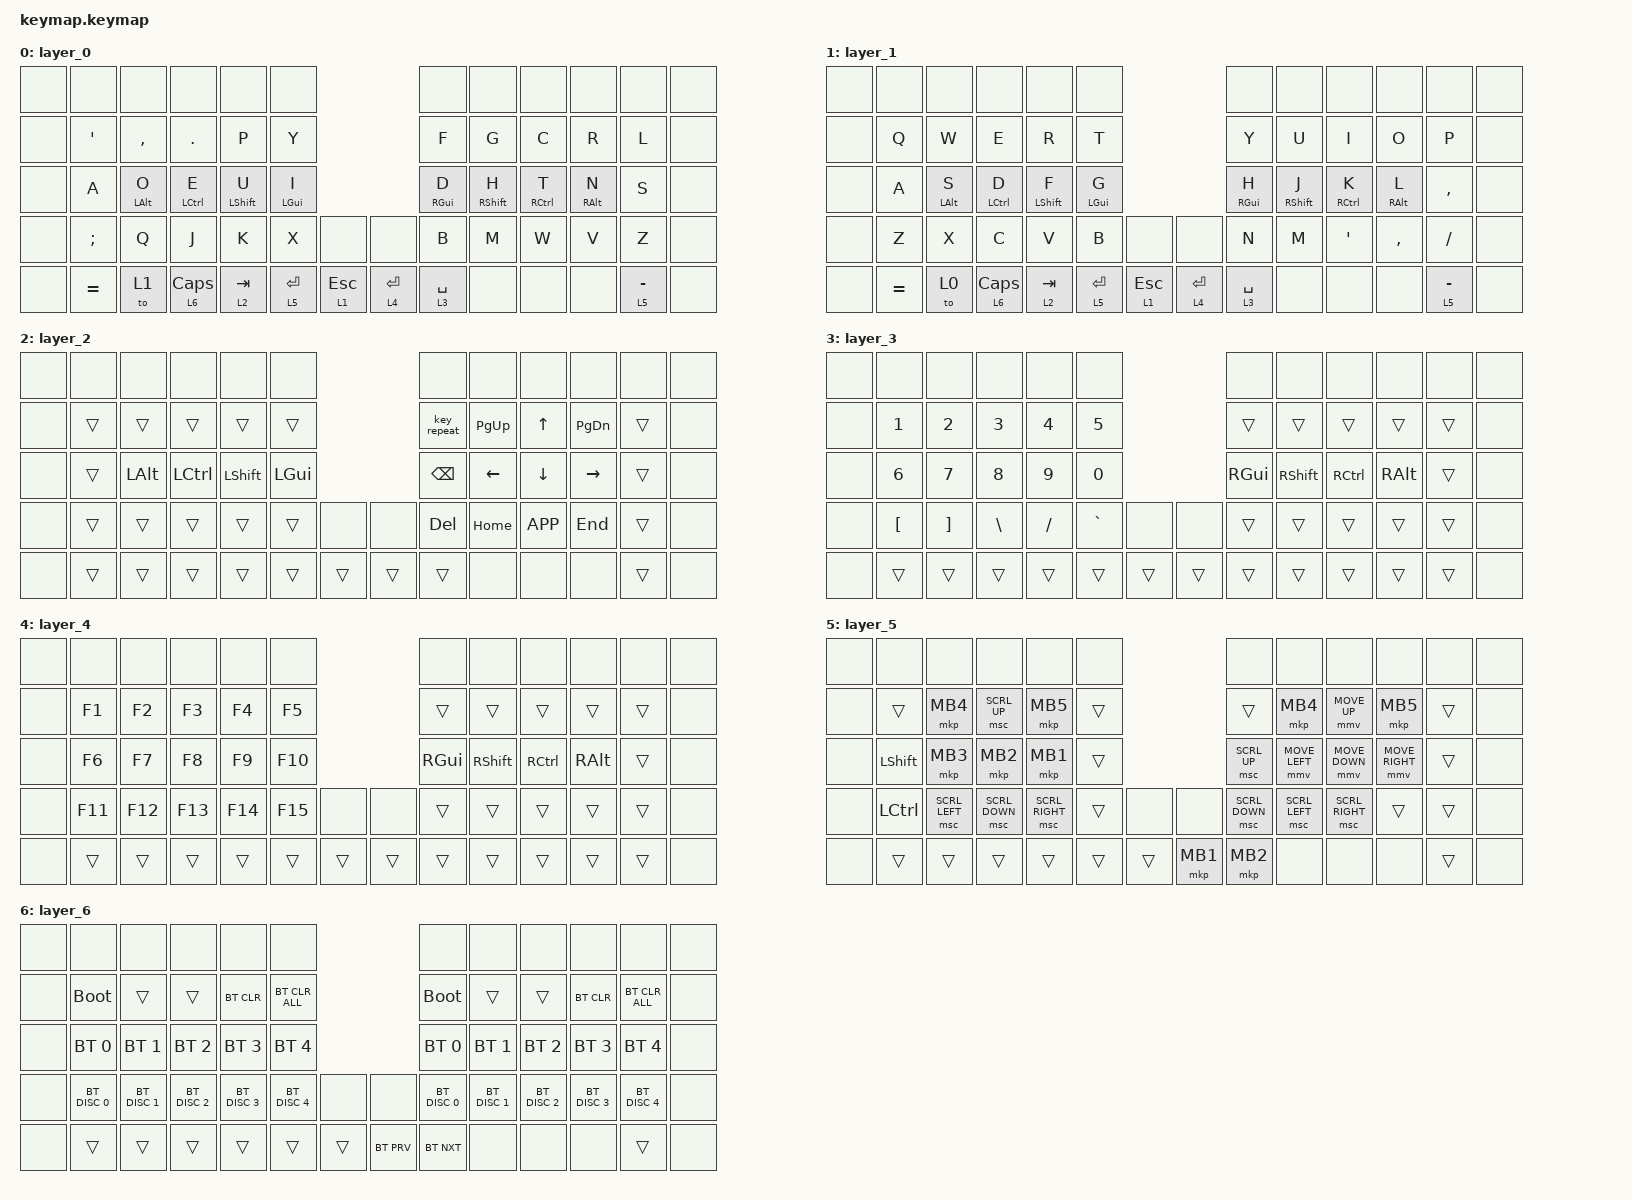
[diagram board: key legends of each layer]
#include <behaviors.dtsi>
#include <dt-bindings/zmk/bt.h>
#include <dt-bindings/zmk/keys.h>
#include <dt-bindings/zmk/outputs.h>
#include <dt-bindings/zmk/pointing.h>

/ {
    combos {
        compatible = "zmk,combos";

        bt_clear {
            bindings = <&bt BT_CLR>;
            key-positions = <28 29>;
            layers = <2>;
        };
    };

    keymap {
        compatible = "zmk,keymap";

        layer_0 {
            bindings = <
&none  &none      &none       &none        &none        &none                                  &none        &none        &none        &none       &none        &none
&none  &kp SQT    &kp COMMA   &kp DOT      &kp P        &kp Y                                  &kp F        &kp G        &kp C        &kp R       &kp L        &none
&none  &kp A      &mt LALT O  &mt LCTRL E  &mt LSHFT U  &mt LGUI I                             &mt RGUI D   &mt RSHFT H  &mt RCTRL T  &mt RALT N  &kp S        &none
&none  &kp SEMI   &kp Q       &kp J        &kp K        &kp X        &none        &none        &kp B        &kp M        &kp W        &kp V       &kp Z        &none
&none  &kp EQUAL  &to 1       &lt 6 CAPS   &lt 2 TAB    &lt 5 ENTER  &lt 1 ESC    &lt 4 ENTER  &lt 3 SPACE  &none        &none        &none       &lt 5 MINUS  &none
            >;
        };

        layer_1 {
            bindings = <
&none  &none      &none       &none        &none        &none                                  &none        &none        &none        &none       &none        &none
&none  &kp Q      &kp W       &kp E        &kp R        &kp T                                  &kp Y        &kp U        &kp I        &kp O       &kp P        &none
&none  &kp A      &mt LALT S  &mt LCTRL D  &mt LSHFT F  &mt LGUI G                             &mt RGUI H   &mt RSHFT J  &mt RCTRL K  &mt RALT L  &kp COMMA    &none
&none  &kp Z      &kp X       &kp C        &kp V        &kp B        &none        &none        &kp N        &kp M        &kp SQT      &kp COMMA   &kp FSLH     &none
&none  &kp EQUAL  &to 0       &lt 6 CAPS   &lt 2 TAB    &lt 5 ENTER  &lt 1 ESC    &lt 4 ENTER  &lt 3 SPACE  &none        &none        &none       &lt 5 MINUS  &none
            >;
        };

        layer_2 {
            bindings = <
&none  &none   &none     &none      &none      &none                       &none        &none     &none      &none      &none   &none
&none  &trans  &trans    &trans     &trans     &trans                      &key_repeat  &kp PG_UP &kp UP     &kp PG_DN  &trans  &none
&none  &trans  &kp LALT  &kp LCTRL  &kp LSHFT  &kp LGUI                    &kp BSPC     &kp LEFT  &kp DOWN   &kp RIGHT  &trans  &none
&none  &trans  &trans    &trans     &trans     &trans    &none     &none   &kp DEL      &kp HOME  &kp K_APP  &kp END    &trans  &none
&none  &trans  &trans    &trans     &trans     &trans    &trans    &trans  &trans       &none     &none      &none      &trans  &none
            >;
        };

        layer_3 {
            bindings = <
&none  &none     &none     &none     &none     &none                        &none     &none      &none      &none     &none   &none
&none  &kp N1    &kp N2    &kp N3    &kp N4    &kp N5                       &trans    &trans     &trans     &trans    &trans  &none
&none  &kp N6    &kp N7    &kp N8    &kp N9    &kp N0                       &kp RGUI  &kp RSHFT  &kp RCTRL  &kp RALT  &trans  &none
&none  &kp LBKT  &kp RBKT  &kp BSLH  &kp FSLH  &kp GRAVE  &none     &none   &trans    &trans     &trans     &trans    &trans  &none
&none  &trans    &trans    &trans    &trans    &trans     &trans    &trans  &trans    &trans     &trans     &trans    &trans  &none
            >;
        };

        layer_4 {
            bindings = <
&none  &none    &none    &none    &none    &none                      &none     &none      &none      &none     &none   &none
&none  &kp F1   &kp F2   &kp F3   &kp F4   &kp F5                     &trans    &trans     &trans     &trans    &trans  &none
&none  &kp F6   &kp F7   &kp F8   &kp F9   &kp F10                    &kp RGUI  &kp RSHFT  &kp RCTRL  &kp RALT  &trans  &none
&none  &kp F11  &kp F12  &kp F13  &kp F14  &kp F15  &none     &none   &trans    &trans     &trans     &trans    &trans  &none
&none  &trans   &trans   &trans   &trans   &trans   &trans    &trans  &trans    &trans     &trans     &trans    &trans  &none
            >;
        };

        layer_5 {
            bindings = <
&none  &none      &none           &none           &none            &none                       &none           &none           &none            &none            &none   &none
&none  &trans     &mkp MB4        &msc SCRL_UP    &mkp MB5         &trans                      &trans          &mkp MB4        &mmv MOVE_UP     &mkp MB5         &trans  &none
&none  &kp LSHFT  &mkp MB3        &mkp MB2        &mkp MB1         &trans                      &msc SCRL_UP    &mmv MOVE_LEFT  &mmv MOVE_DOWN   &mmv MOVE_RIGHT  &trans  &none
&none  &kp LCTRL  &msc SCRL_LEFT  &msc SCRL_DOWN  &msc SCRL_RIGHT  &trans  &none     &none     &msc SCRL_DOWN  &msc SCRL_LEFT  &msc SCRL_RIGHT  &trans           &trans  &none
&none  &trans     &trans          &trans          &trans           &trans  &trans    &mkp MB1  &mkp MB2        &none           &none            &none            &trans  &none
            >;
        };

        layer_6 {
            bindings = <
&none  &none          &none          &none          &none          &none                                 &none          &none          &none          &none          &none           &none
&none  &bootloader    &trans         &trans         &bt BT_CLR     &bt BT_CLR_ALL                        &bootloader    &trans         &trans         &bt BT_CLR     &bt BT_CLR_ALL  &none
&none  &bt BT_SEL 0   &bt BT_SEL 1   &bt BT_SEL 2   &bt BT_SEL 3   &bt BT_SEL 4                          &bt BT_SEL 0   &bt BT_SEL 1   &bt BT_SEL 2   &bt BT_SEL 3   &bt BT_SEL 4    &none
&none  &bt BT_DISC 0  &bt BT_DISC 1  &bt BT_DISC 2  &bt BT_DISC 3  &bt BT_DISC 4   &none     &none       &bt BT_DISC 0  &bt BT_DISC 1  &bt BT_DISC 2  &bt BT_DISC 3  &bt BT_DISC 4   &none
&none  &trans         &trans         &trans         &trans         &trans          &trans    &bt BT_PRV  &bt BT_NXT     &none          &none          &none          &trans          &none
            >;
        };
    };
};
